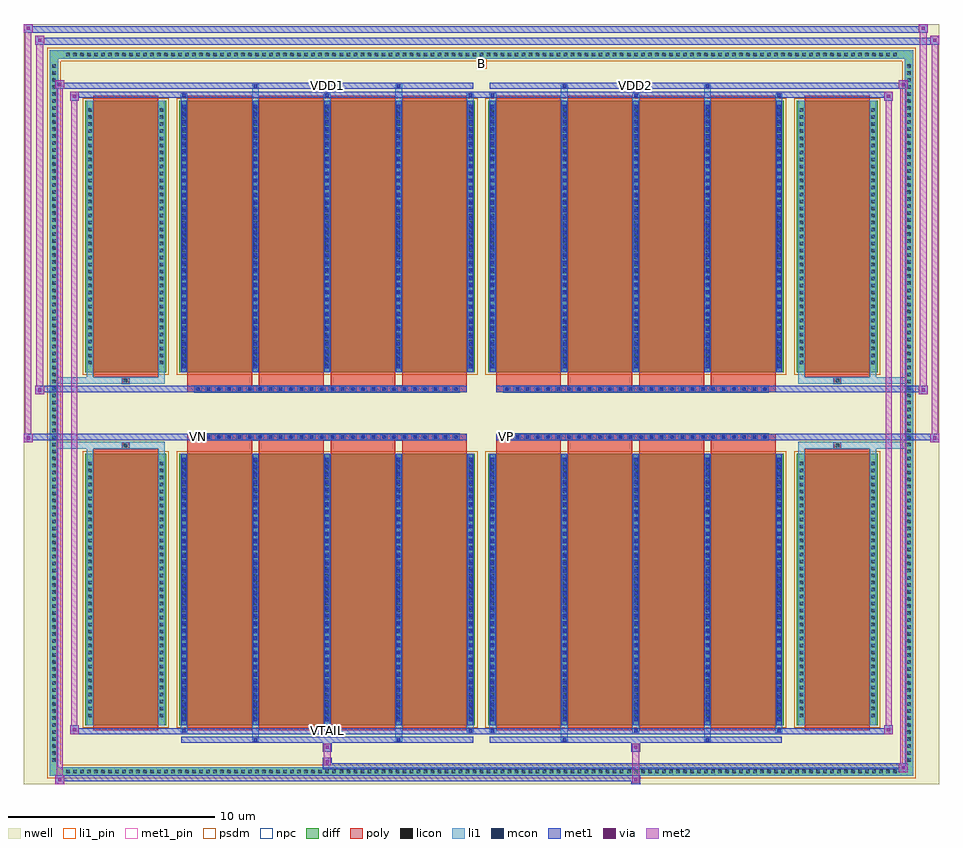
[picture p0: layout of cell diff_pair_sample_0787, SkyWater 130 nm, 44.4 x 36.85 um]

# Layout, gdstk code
import gdstk
lib = gdstk.Library(unit=1e-6, precision=5e-09)
def R(c, l, rs):  # rectangles x0, y0, x1, y1
    for r in rs: c.add(gdstk.rectangle(r[:2], r[2:], *l))
def A(c, l, x, y, w, h, nx, ny, dx, dy):  # array of equal rectangles
    R(c, l, [(x+i*dx, y+j*dy, x+i*dx+w, y+j*dy+h) for i in range(nx) for j in range(ny)])
def P(c, l, *ps):  # polygons
    for p in ps: c.add(gdstk.Polygon(p, *l))
nwell = (64, 20)
diff = (65, 20)
poly = (66, 20)
licon = (66, 44)
li1_pin = (67, 16)
li1 = (67, 20)
mcon = (67, 44)
met1_pin = (68, 16)
met1 = (68, 20)
via = (68, 44)
met2 = (69, 20)
psdm = (94, 20)
npc = (95, 20)

diff_pair_sample_0787 = lib.new_cell('diff_pair_sample_0787')
R(diff_pair_sample_0787, nwell, [(-22.2,-17.99,22.2,18.86), (-19.52,-16.18,-0.01,-0.8), (0.01,-16.18,19.52,-0.8), (-19.52,0.8,-0.01,16.18), (0.01,0.8,19.52,16.18)])
A(diff_pair_sample_0787, diff, -20.265, -17.59, 0.41, 0.41, 119, 2, 0.34, 34.77)
A(diff_pair_sample_0787, diff, -20.93, -17.035, 0.41, 0.41, 1, 100, 0, 0.34)
A(diff_pair_sample_0787, diff, 20.52, -17.035, 0.41, 0.41, 1, 100, 0, 0.34)
R(diff_pair_sample_0787, diff, [(-20.265,-17.59,20.265,-17.18), (-20.93,-17.035,-20.52,17.035), (20.52,-17.035,20.93,17.035), (-19.21,-15.135,-15.29,-1.985), (-14.65,-15.135,-0.32,-1.985), (0.32,-15.135,14.65,-1.985), (15.29,-15.135,19.21,-1.985), (-19.21,1.985,-15.29,15.135), (-14.65,1.985,-0.32,15.135), (0.32,1.985,14.65,15.135), (15.29,1.985,19.21,15.135), (-20.265,17.18,20.265,17.59)])
P(diff_pair_sample_0787, diff, [(20.93,17.59),(-20.93,17.59),(-20.93,-17.18),(-20.52,-17.18),(-20.52,17.18),(20.52,17.18),(20.52,-17.18),(-20.52,-17.18),(-20.93,-17.18),(-20.93,-17.59),(20.93,-17.59)])
A(diff_pair_sample_0787, poly, -14.26, -15.385, 3.14, 13.65, 4, 2, 3.47, 17.12)
A(diff_pair_sample_0787, poly, 0.71, -15.385, 3.14, 13.65, 4, 2, 3.47, 17.12)
A(diff_pair_sample_0787, poly, -14.26, -1.735, 3.14, 0.405, 4, 2, 3.47, 3.065)
A(diff_pair_sample_0787, poly, 0.71, -1.735, 3.14, 0.405, 4, 2, 3.47, 3.065)
A(diff_pair_sample_0787, poly, -13.9, -1.33, 0.33, 0.33, 26, 2, 0.5, 2.33)
A(diff_pair_sample_0787, poly, 1.07, -1.33, 0.33, 0.33, 26, 2, 0.5, 2.33)
R(diff_pair_sample_0787, poly, [(-18.82,-15.385,-15.68,-1.735), (15.68,-15.385,18.82,-1.735), (-17.415,-1.735,-17.085,-1.405), (-17.415,-1.735,-17.085,-1.405), (17.085,-1.735,17.415,-1.405), (17.085,-1.735,17.415,-1.405), (-14.26,-1.33,-0.71,-1), (0.71,-1.33,14.26,-1), (-14.26,1,-0.71,1.33), (0.71,1,14.26,1.33), (-17.415,1.405,-17.085,1.735), (-17.415,1.405,-17.085,1.735), (17.085,1.405,17.415,1.735), (17.085,1.405,17.415,1.735), (-18.82,1.735,-15.68,15.385), (15.68,1.735,18.82,15.385)])
A(diff_pair_sample_0787, licon, -20.145, -17.47, 0.17, 0.17, 119, 2, 0.34, 34.77)
A(diff_pair_sample_0787, licon, -20.81, -16.915, 0.17, 0.17, 1, 100, 0, 0.34)
A(diff_pair_sample_0787, licon, 20.64, -16.915, 0.17, 0.17, 1, 100, 0, 0.34)
A(diff_pair_sample_0787, licon, -19.07, -14.765, 0.17, 0.17, 1, 37, 0, 0.34)
A(diff_pair_sample_0787, licon, -15.6, -14.765, 0.17, 0.17, 1, 37, 0, 0.34)
A(diff_pair_sample_0787, licon, -14.51, -14.765, 0.17, 0.17, 5, 37, 3.47, 0.34)
A(diff_pair_sample_0787, licon, 0.46, -14.765, 0.17, 0.17, 5, 37, 3.47, 0.34)
A(diff_pair_sample_0787, licon, 15.43, -14.765, 0.17, 0.17, 1, 37, 0, 0.34)
A(diff_pair_sample_0787, licon, 18.9, -14.765, 0.17, 0.17, 1, 37, 0, 0.34)
A(diff_pair_sample_0787, licon, -13.82, -1.25, 0.17, 0.17, 26, 2, 0.5, 2.33)
A(diff_pair_sample_0787, licon, 1.15, -1.25, 0.17, 0.17, 26, 2, 0.5, 2.33)
A(diff_pair_sample_0787, licon, -19.07, 2.355, 0.17, 0.17, 1, 37, 0, 0.34)
A(diff_pair_sample_0787, licon, -15.6, 2.355, 0.17, 0.17, 1, 37, 0, 0.34)
A(diff_pair_sample_0787, licon, -14.51, 2.355, 0.17, 0.17, 5, 37, 3.47, 0.34)
A(diff_pair_sample_0787, licon, 0.46, 2.355, 0.17, 0.17, 5, 37, 3.47, 0.34)
A(diff_pair_sample_0787, licon, 15.43, 2.355, 0.17, 0.17, 1, 37, 0, 0.34)
A(diff_pair_sample_0787, licon, 18.9, 2.355, 0.17, 0.17, 1, 37, 0, 0.34)
R(diff_pair_sample_0787, licon, [(-17.335,-1.655,-17.165,-1.485), (17.165,-1.655,17.335,-1.485), (-17.335,1.485,-17.165,1.655), (17.165,1.485,17.335,1.655)])
R(diff_pair_sample_0787, li1_pin, [(-0.25,16.68,0.25,17.18)])
A(diff_pair_sample_0787, li1, -20.225, -17.55, 0.33, 0.33, 119, 2, 0.34, 34.77)
A(diff_pair_sample_0787, li1, -20.89, -16.995, 0.33, 0.33, 1, 100, 0, 0.34)
A(diff_pair_sample_0787, li1, 20.56, -16.995, 0.33, 0.33, 1, 100, 0, 0.34)
A(diff_pair_sample_0787, li1, -14.59, -15.51, 0.33, 0.375, 3, 2, 6.94, 30.645)
A(diff_pair_sample_0787, li1, -14.51, -15.51, 0.17, 0.17, 3, 2, 6.94, 30.85)
A(diff_pair_sample_0787, li1, 0.38, -15.51, 0.33, 0.375, 3, 2, 6.94, 30.645)
A(diff_pair_sample_0787, li1, 0.46, -15.51, 0.17, 0.17, 3, 2, 6.94, 30.85)
A(diff_pair_sample_0787, li1, -14.59, -15.135, 0.33, 13.15, 5, 2, 3.47, 17.12)
A(diff_pair_sample_0787, li1, 0.38, -15.135, 0.33, 13.15, 5, 2, 3.47, 17.12)
A(diff_pair_sample_0787, li1, -14.51, -14.945, 0.17, 0.17, 5, 36, 3.47, 0.36)
A(diff_pair_sample_0787, li1, -14.51, -14.945, 0.17, 12.77, 5, 2, 3.47, 17.12)
A(diff_pair_sample_0787, li1, 0.46, -14.945, 0.17, 0.17, 5, 36, 3.47, 0.36)
A(diff_pair_sample_0787, li1, 0.46, -14.945, 0.17, 12.77, 5, 2, 3.47, 17.12)
A(diff_pair_sample_0787, li1, -19.15, -14.845, 0.33, 0.33, 1, 37, 0, 0.34)
A(diff_pair_sample_0787, li1, -15.68, -14.845, 0.33, 0.33, 1, 37, 0, 0.34)
A(diff_pair_sample_0787, li1, -14.59, -14.845, 0.33, 0.33, 5, 37, 3.47, 0.34)
A(diff_pair_sample_0787, li1, 0.38, -14.845, 0.33, 0.33, 5, 37, 3.47, 0.34)
A(diff_pair_sample_0787, li1, 15.35, -14.845, 0.33, 0.33, 1, 37, 0, 0.34)
A(diff_pair_sample_0787, li1, 18.82, -14.845, 0.33, 0.33, 1, 37, 0, 0.34)
A(diff_pair_sample_0787, li1, -13.9, -1.33, 0.33, 0.33, 26, 2, 0.5, 2.33)
A(diff_pair_sample_0787, li1, 1.07, -1.33, 0.33, 0.33, 26, 2, 0.5, 2.33)
A(diff_pair_sample_0787, li1, -14.51, 2.175, 0.17, 0.17, 5, 36, 3.47, 0.36)
A(diff_pair_sample_0787, li1, 0.46, 2.175, 0.17, 0.17, 5, 36, 3.47, 0.36)
A(diff_pair_sample_0787, li1, -19.15, 2.275, 0.33, 0.33, 1, 37, 0, 0.34)
A(diff_pair_sample_0787, li1, -15.68, 2.275, 0.33, 0.33, 1, 37, 0, 0.34)
A(diff_pair_sample_0787, li1, -14.59, 2.275, 0.33, 0.33, 5, 37, 3.47, 0.34)
A(diff_pair_sample_0787, li1, 0.38, 2.275, 0.33, 0.33, 5, 37, 3.47, 0.34)
A(diff_pair_sample_0787, li1, 15.35, 2.275, 0.33, 0.33, 1, 37, 0, 0.34)
A(diff_pair_sample_0787, li1, 18.82, 2.275, 0.33, 0.33, 1, 37, 0, 0.34)
R(diff_pair_sample_0787, li1, [(-20.93,-17.59,-20.52,-17.18), (-20.93,-17.59,-20.52,-17.18), (-20.52,-17.59,20.52,-17.18), (20.52,-17.59,20.93,-17.18), (20.52,-17.59,20.93,-17.18), (-20.93,-17.18,-20.52,17.18), (20.52,-17.18,20.93,17.18), (-11.12,-15.94,-10.79,-15.135), (-11.04,-15.94,-10.87,-15.77), (-4.18,-15.94,-3.85,-15.135), (-4.1,-15.94,-3.93,-15.77), (3.85,-15.94,4.18,-15.135), (3.93,-15.94,4.1,-15.77), (10.79,-15.94,11.12,-15.135), (10.87,-15.94,11.04,-15.77), (-19.15,-15.135,-18.82,-1.985), (-15.68,-15.135,-15.35,-1.985), (15.35,-15.135,15.68,-1.985), (18.82,-15.135,19.15,-1.985), (-19.15,-1.985,-18.82,-1.405), (-15.68,-1.985,-15.35,-1.405), (15.35,-1.985,15.68,-1.405), (18.82,-1.985,19.15,-1.405), (-20.93,-1.735,-17.415,-1.405), (-19.15,-1.735,-17.415,-1.405), (-17.415,-1.735,-17.085,-1.405), (-17.085,-1.735,-15.35,-1.405), (15.35,-1.735,17.085,-1.405), (17.085,-1.735,17.415,-1.405), (17.085,-1.735,20.93,-1.405), (17.415,-1.735,19.15,-1.405), (-20.93,1.405,-17.415,1.735), (-19.15,1.405,-17.415,1.735), (-19.15,1.405,-18.82,1.985), (-17.415,1.405,-17.085,1.735), (-17.085,1.405,-15.35,1.735), (-15.68,1.405,-15.35,1.985), (15.35,1.405,17.085,1.735), (15.35,1.405,15.68,1.985), (17.085,1.405,17.415,1.735), (17.085,1.405,20.93,1.735), (17.415,1.405,19.15,1.735), (18.82,1.405,19.15,1.985), (-19.15,1.985,-18.82,15.135), (-15.68,1.985,-15.35,15.135), (15.35,1.985,15.68,15.135), (18.82,1.985,19.15,15.135), (-11.12,15.135,-10.79,15.94), (-4.18,15.135,-3.85,15.94), (3.85,15.135,4.18,15.94), (10.79,15.135,11.12,15.94), (-11.04,15.77,-10.87,15.94), (-4.1,15.77,-3.93,15.94), (3.93,15.77,4.1,15.94), (10.87,15.77,11.04,15.94), (-20.93,17.18,-20.52,17.59), (-20.93,17.18,-20.52,17.59), (-20.52,17.18,20.52,17.59), (20.52,17.18,20.93,17.59), (20.52,17.18,20.93,17.59)])
A(diff_pair_sample_0787, mcon, -14.51, -15.51, 0.17, 0.17, 3, 2, 6.94, 30.85)
A(diff_pair_sample_0787, mcon, 0.46, -15.51, 0.17, 0.17, 3, 2, 6.94, 30.85)
A(diff_pair_sample_0787, mcon, -14.51, -14.945, 0.17, 0.17, 5, 36, 3.47, 0.36)
A(diff_pair_sample_0787, mcon, 0.46, -14.945, 0.17, 0.17, 5, 36, 3.47, 0.36)
A(diff_pair_sample_0787, mcon, -13.82, -1.25, 0.17, 0.17, 26, 2, 0.5, 2.33)
A(diff_pair_sample_0787, mcon, 1.15, -1.25, 0.17, 0.17, 26, 2, 0.5, 2.33)
A(diff_pair_sample_0787, mcon, -14.51, 2.175, 0.17, 0.17, 5, 36, 3.47, 0.36)
A(diff_pair_sample_0787, mcon, 0.46, 2.175, 0.17, 0.17, 5, 36, 3.47, 0.36)
R(diff_pair_sample_0787, mcon, [(-11.04,-15.94,-10.87,-15.77), (-4.1,-15.94,-3.93,-15.77), (3.93,-15.94,4.1,-15.77), (10.87,-15.94,11.04,-15.77), (-11.04,15.77,-10.87,15.94), (-4.1,15.77,-3.93,15.94), (3.93,15.77,4.1,15.94), (10.87,15.77,11.04,15.94)])
R(diff_pair_sample_0787, met1_pin, [(-7.62,-15.55,-7.35,-15.28), (-13.87,-1.29,-13.6,-1.02), (1.1,-1.29,1.37,-1.02), (-7.62,15.73,-7.35,16), (7.35,15.73,7.62,16)])
A(diff_pair_sample_0787, met1, -14.57, -15.57, 0.29, 0.29, 3, 2, 6.94, 30.85)
A(diff_pair_sample_0787, met1, 0.4, -15.57, 0.29, 0.29, 3, 2, 6.94, 30.85)
A(diff_pair_sample_0787, met1, -14.57, -15.135, 0.29, 13.15, 5, 2, 3.47, 17.12)
A(diff_pair_sample_0787, met1, 0.4, -15.135, 0.29, 13.15, 5, 2, 3.47, 17.12)
A(diff_pair_sample_0787, met1, -14.57, -15.005, 0.29, 0.29, 5, 36, 3.47, 0.36)
A(diff_pair_sample_0787, met1, 0.4, -15.005, 0.29, 0.29, 5, 36, 3.47, 0.36)
A(diff_pair_sample_0787, met1, -13.88, -1.31, 0.29, 0.29, 26, 2, 0.5, 2.33)
A(diff_pair_sample_0787, met1, 1.09, -1.31, 0.29, 0.29, 26, 2, 0.5, 2.33)
A(diff_pair_sample_0787, met1, -14.57, 2.115, 0.29, 0.29, 5, 36, 3.47, 0.36)
A(diff_pair_sample_0787, met1, 0.4, 2.115, 0.29, 0.29, 5, 36, 3.47, 0.36)
R(diff_pair_sample_0787, met1, [(-20.66,-17.99,-20.23,-17.56), (7.27,-17.99,7.7,-17.56), (-20.66,-17.85,7.7,-17.56), (20.23,-17.42,20.66,-16.99), (-7.7,-17.28,20.66,-16.99), (-7.7,-17.14,-7.27,-16.71), (-7.7,-16.43,-7.27,-16), (7.27,-16.43,7.7,-16), (-14.57,-16,-0.4,-15.71), (-11.1,-16,-10.81,-15.71), (-4.16,-16,-3.87,-15.71), (0.4,-16,14.57,-15.71), (3.87,-16,4.16,-15.71), (10.81,-16,11.1,-15.71), (-19.95,-15.57,-19.52,-15.14), (-19.95,-15.57,-14.57,-15.28), (-14.57,-15.57,-0.4,-15.28), (-0.4,-15.57,0.4,-15.28), (0.4,-15.57,14.57,-15.28), (14.57,-15.57,19.95,-15.28), (19.52,-15.57,19.95,-15.14), (-22.2,-1.43,-21.77,-1), (21.77,-1.43,22.2,-1), (-22.2,-1.33,-0.71,-1), (-14.26,-1.33,-0.71,-1), (0.71,-1.33,14.26,-1), (0.71,-1.33,22.2,-1), (-21.63,0.9,-21.2,1.33), (21.2,0.9,21.63,1.33), (-21.63,1,-14.26,1.33), (-14.26,1,-0.71,1.33), (0.71,1,14.26,1.33), (14.26,1,21.63,1.33), (-19.95,15.14,-19.52,15.57), (19.52,15.14,19.95,15.57), (-19.95,15.28,-14.57,15.57), (-14.57,15.28,-0.4,15.57), (-0.4,15.28,0.4,15.57), (0.4,15.28,14.57,15.57), (14.57,15.28,19.95,15.57), (-20.66,15.71,-20.23,16.14), (-20.66,15.71,-14.57,16), (-14.57,15.71,-0.4,16), (-11.1,15.71,-10.81,16), (-4.16,15.71,-3.87,16), (0.4,15.71,14.57,16), (3.87,15.71,4.16,16), (10.81,15.71,11.1,16), (14.57,15.71,20.66,16), (20.23,15.71,20.66,16.14), (-21.63,17.86,-21.2,18.29), (-21.63,17.86,-19.52,18.19), (-19.52,17.86,19.52,18.19), (19.52,17.86,22.2,18.19), (21.77,17.86,22.2,18.29), (-22.2,18.43,-21.77,18.86), (-22.2,18.43,-19.52,18.76), (-19.52,18.43,19.52,18.76), (19.52,18.43,21.63,18.76), (21.2,18.43,21.63,18.86)])
R(diff_pair_sample_0787, via, [(-20.52,-17.85,-20.37,-17.7), (7.41,-17.85,7.56,-17.7), (20.37,-17.28,20.52,-17.13), (-7.56,-17,-7.41,-16.85), (-7.56,-16.29,-7.41,-16.14), (7.41,-16.29,7.56,-16.14), (-19.81,-15.43,-19.66,-15.28), (19.66,-15.43,19.81,-15.28), (-22.06,-1.29,-21.91,-1.14), (21.91,-1.29,22.06,-1.14), (-21.49,1.04,-21.34,1.19), (21.34,1.04,21.49,1.19), (-19.81,15.28,-19.66,15.43), (19.66,15.28,19.81,15.43), (-20.52,15.85,-20.37,16), (20.37,15.85,20.52,16), (-21.49,18,-21.34,18.15), (21.91,18,22.06,18.15), (-22.06,18.57,-21.91,18.72), (21.34,18.57,21.49,18.72)])
R(diff_pair_sample_0787, met2, [(-20.66,-17.99,-20.23,-17.56), (-20.59,-17.99,-20.3,16.14), (-20.3,-17.99,-20.23,-17.56), (-20.61,-17.94,-20.28,-17.61), (7.32,-17.94,7.65,-17.61), (7.32,-17.61,7.65,-16.38), (20.23,-17.42,20.66,-16.99), (20.3,-17.42,20.59,16.14), (20.59,-17.42,20.66,-16.99), (20.28,-17.37,20.61,-17.04), (-7.65,-17.09,-7.32,-16.76), (-7.65,-16.76,-7.32,-16.38), (-7.65,-16.38,-7.32,-16.05), (7.32,-16.38,7.65,-16.05), (-19.95,-15.57,-19.52,-15.14), (-19.88,-15.57,-19.59,15.57), (-19.59,-15.57,-19.52,-15.14), (19.52,-15.57,19.95,-15.14), (19.59,-15.57,19.88,15.57), (19.88,-15.57,19.95,-15.14), (-19.9,-15.52,-19.57,-15.19), (19.57,-15.52,19.9,-15.19), (-22.2,-1.43,-21.77,-1), (-22.15,-1.43,-21.82,18.86), (-21.82,-1.43,-21.77,-1), (21.77,-1.43,22.2,-1), (21.82,-1.43,22.15,18.29), (22.15,-1.43,22.2,-1), (-22.15,-1.38,-21.82,-1.05), (21.82,-1.38,22.15,-1.05), (-21.63,0.9,-21.2,1.33), (-21.58,0.9,-21.25,18.29), (-21.25,0.9,-21.2,1.33), (21.2,0.9,21.63,1.33), (21.25,0.9,21.58,18.86), (21.58,0.9,21.63,1.33), (-21.58,0.95,-21.25,1.28), (21.25,0.95,21.58,1.28), (-19.95,15.14,-19.52,15.57), (-19.59,15.14,-19.52,15.57), (19.52,15.14,19.95,15.57), (19.88,15.14,19.95,15.57), (-19.9,15.19,-19.57,15.52), (19.57,15.19,19.9,15.52), (-20.66,15.71,-20.23,16.14), (-20.3,15.71,-20.23,16.14), (20.23,15.71,20.66,16.14), (20.59,15.71,20.66,16.14), (-20.61,15.76,-20.28,16.09), (20.28,15.76,20.61,16.09), (-21.63,17.86,-21.2,18.29), (-21.25,17.86,-21.2,18.29), (21.77,17.86,22.2,18.29), (22.15,17.86,22.2,18.29), (-21.58,17.91,-21.25,18.24), (21.82,17.91,22.15,18.24), (-22.2,18.43,-21.77,18.86), (-21.82,18.43,-21.77,18.86), (21.2,18.43,21.63,18.86), (21.58,18.43,21.63,18.86), (-22.15,18.48,-21.82,18.81), (21.25,18.48,21.58,18.81)])
R(diff_pair_sample_0787, psdm, [(-19.34,-15.265,-15.16,-1.855), (-14.78,-15.265,-0.19,-1.855), (0.19,-15.265,14.78,-1.855), (15.16,-15.265,19.34,-1.855), (-19.34,1.855,-15.16,15.265), (-14.78,1.855,-0.19,15.265), (0.19,1.855,14.78,15.265), (15.16,1.855,19.34,15.265)])
P(diff_pair_sample_0787, psdm, [(21.06,17.72),(-21.06,17.72),(-21.06,-17.05),(-20.39,-17.05),(-20.39,17.05),(20.39,17.05),(20.39,-17.05),(-20.39,-17.05),(-21.06,-17.05),(-21.06,-17.72),(21.06,-17.72)])
A(diff_pair_sample_0787, npc, -13.92, -1.35, 0.37, 0.37, 26, 2, 0.5, 2.33)
A(diff_pair_sample_0787, npc, 1.05, -1.35, 0.37, 0.37, 26, 2, 0.5, 2.33)
R(diff_pair_sample_0787, npc, [(-17.435,-1.755,-17.065,-1.385), (17.065,-1.755,17.435,-1.385), (-13.92,-1.35,-13.05,-0.98), (-13.92,-1.35,-13.05,-0.98), (-13.42,-1.35,-12.55,-0.98), (-13.42,-1.35,-12.55,-0.98), (-12.92,-1.35,-12.05,-0.98), (-12.92,-1.35,-12.05,-0.98), (-12.42,-1.35,-11.55,-0.98), (-12.42,-1.35,-11.55,-0.98), (-11.92,-1.35,-11.05,-0.98), (-11.92,-1.35,-11.05,-0.98), (-11.42,-1.35,-10.55,-0.98), (-11.42,-1.35,-10.55,-0.98), (-10.92,-1.35,-10.05,-0.98), (-10.92,-1.35,-10.05,-0.98), (-10.42,-1.35,-9.55,-0.98), (-10.42,-1.35,-9.55,-0.98), (-9.92,-1.35,-9.05,-0.98), (-9.92,-1.35,-9.05,-0.98), (-9.42,-1.35,-8.55,-0.98), (-9.42,-1.35,-8.55,-0.98), (-8.92,-1.35,-8.05,-0.98), (-8.92,-1.35,-8.05,-0.98), (-8.42,-1.35,-7.55,-0.98), (-8.42,-1.35,-7.55,-0.98), (-7.92,-1.35,-7.05,-0.98), (-7.92,-1.35,-7.05,-0.98), (-7.42,-1.35,-6.55,-0.98), (-7.42,-1.35,-6.55,-0.98), (-6.92,-1.35,-6.05,-0.98), (-6.92,-1.35,-6.05,-0.98), (-6.42,-1.35,-5.55,-0.98), (-6.42,-1.35,-5.55,-0.98), (-5.92,-1.35,-5.05,-0.98), (-5.92,-1.35,-5.05,-0.98), (-5.42,-1.35,-4.55,-0.98), (-5.42,-1.35,-4.55,-0.98), (-4.92,-1.35,-4.05,-0.98), (-4.92,-1.35,-4.05,-0.98), (-4.42,-1.35,-3.55,-0.98), (-4.42,-1.35,-3.55,-0.98), (-3.92,-1.35,-3.05,-0.98), (-3.92,-1.35,-3.05,-0.98), (-3.42,-1.35,-2.55,-0.98), (-3.42,-1.35,-2.55,-0.98), (-2.92,-1.35,-2.05,-0.98), (-2.92,-1.35,-2.05,-0.98), (-2.42,-1.35,-1.55,-0.98), (-2.42,-1.35,-1.55,-0.98), (-1.92,-1.35,-1.05,-0.98), (-1.92,-1.35,-1.05,-0.98), (1.05,-1.35,1.92,-0.98), (1.05,-1.35,1.92,-0.98), (1.55,-1.35,2.42,-0.98), (1.55,-1.35,2.42,-0.98), (2.05,-1.35,2.92,-0.98), (2.05,-1.35,2.92,-0.98), (2.55,-1.35,3.42,-0.98), (2.55,-1.35,3.42,-0.98), (3.05,-1.35,3.92,-0.98), (3.05,-1.35,3.92,-0.98), (3.55,-1.35,4.42,-0.98), (3.55,-1.35,4.42,-0.98), (4.05,-1.35,4.92,-0.98), (4.05,-1.35,4.92,-0.98), (4.55,-1.35,5.42,-0.98), (4.55,-1.35,5.42,-0.98), (5.05,-1.35,5.92,-0.98), (5.05,-1.35,5.92,-0.98), (5.55,-1.35,6.42,-0.98), (5.55,-1.35,6.42,-0.98), (6.05,-1.35,6.92,-0.98), (6.05,-1.35,6.92,-0.98), (6.55,-1.35,7.42,-0.98), (6.55,-1.35,7.42,-0.98), (7.05,-1.35,7.92,-0.98), (7.05,-1.35,7.92,-0.98), (7.55,-1.35,8.42,-0.98), (7.55,-1.35,8.42,-0.98), (8.05,-1.35,8.92,-0.98), (8.05,-1.35,8.92,-0.98), (8.55,-1.35,9.42,-0.98), (8.55,-1.35,9.42,-0.98), (9.05,-1.35,9.92,-0.98), (9.05,-1.35,9.92,-0.98), (9.55,-1.35,10.42,-0.98), (9.55,-1.35,10.42,-0.98), (10.05,-1.35,10.92,-0.98), (10.05,-1.35,10.92,-0.98), (10.55,-1.35,11.42,-0.98), (10.55,-1.35,11.42,-0.98), (11.05,-1.35,11.92,-0.98), (11.05,-1.35,11.92,-0.98), (11.55,-1.35,12.42,-0.98), (11.55,-1.35,12.42,-0.98), (12.05,-1.35,12.92,-0.98), (12.05,-1.35,12.92,-0.98), (12.55,-1.35,13.42,-0.98), (12.55,-1.35,13.42,-0.98), (13.05,-1.35,13.92,-0.98), (13.05,-1.35,13.92,-0.98), (-13.92,0.98,-13.05,1.35), (-13.92,0.98,-13.05,1.35), (-13.42,0.98,-12.55,1.35), (-13.42,0.98,-12.55,1.35), (-12.92,0.98,-12.05,1.35), (-12.92,0.98,-12.05,1.35), (-12.42,0.98,-11.55,1.35), (-12.42,0.98,-11.55,1.35), (-11.92,0.98,-11.05,1.35), (-11.92,0.98,-11.05,1.35), (-11.42,0.98,-10.55,1.35), (-11.42,0.98,-10.55,1.35), (-10.92,0.98,-10.05,1.35), (-10.92,0.98,-10.05,1.35), (-10.42,0.98,-9.55,1.35), (-10.42,0.98,-9.55,1.35), (-9.92,0.98,-9.05,1.35), (-9.92,0.98,-9.05,1.35), (-9.42,0.98,-8.55,1.35), (-9.42,0.98,-8.55,1.35), (-8.92,0.98,-8.05,1.35), (-8.92,0.98,-8.05,1.35), (-8.42,0.98,-7.55,1.35), (-8.42,0.98,-7.55,1.35), (-7.92,0.98,-7.05,1.35), (-7.92,0.98,-7.05,1.35), (-7.42,0.98,-6.55,1.35), (-7.42,0.98,-6.55,1.35), (-6.92,0.98,-6.05,1.35), (-6.92,0.98,-6.05,1.35), (-6.42,0.98,-5.55,1.35), (-6.42,0.98,-5.55,1.35), (-5.92,0.98,-5.05,1.35), (-5.92,0.98,-5.05,1.35), (-5.42,0.98,-4.55,1.35), (-5.42,0.98,-4.55,1.35), (-4.92,0.98,-4.05,1.35), (-4.92,0.98,-4.05,1.35), (-4.42,0.98,-3.55,1.35), (-4.42,0.98,-3.55,1.35), (-3.92,0.98,-3.05,1.35), (-3.92,0.98,-3.05,1.35), (-3.42,0.98,-2.55,1.35), (-3.42,0.98,-2.55,1.35), (-2.92,0.98,-2.05,1.35), (-2.92,0.98,-2.05,1.35), (-2.42,0.98,-1.55,1.35), (-2.42,0.98,-1.55,1.35), (-1.92,0.98,-1.05,1.35), (-1.92,0.98,-1.05,1.35), (1.05,0.98,1.92,1.35), (1.05,0.98,1.92,1.35), (1.55,0.98,2.42,1.35), (1.55,0.98,2.42,1.35), (2.05,0.98,2.92,1.35), (2.05,0.98,2.92,1.35), (2.55,0.98,3.42,1.35), (2.55,0.98,3.42,1.35), (3.05,0.98,3.92,1.35), (3.05,0.98,3.92,1.35), (3.55,0.98,4.42,1.35), (3.55,0.98,4.42,1.35), (4.05,0.98,4.92,1.35), (4.05,0.98,4.92,1.35), (4.55,0.98,5.42,1.35), (4.55,0.98,5.42,1.35), (5.05,0.98,5.92,1.35), (5.05,0.98,5.92,1.35), (5.55,0.98,6.42,1.35), (5.55,0.98,6.42,1.35), (6.05,0.98,6.92,1.35), (6.05,0.98,6.92,1.35), (6.55,0.98,7.42,1.35), (6.55,0.98,7.42,1.35), (7.05,0.98,7.92,1.35), (7.05,0.98,7.92,1.35), (7.55,0.98,8.42,1.35), (7.55,0.98,8.42,1.35), (8.05,0.98,8.92,1.35), (8.05,0.98,8.92,1.35), (8.55,0.98,9.42,1.35), (8.55,0.98,9.42,1.35), (9.05,0.98,9.92,1.35), (9.05,0.98,9.92,1.35), (9.55,0.98,10.42,1.35), (9.55,0.98,10.42,1.35), (10.05,0.98,10.92,1.35), (10.05,0.98,10.92,1.35), (10.55,0.98,11.42,1.35), (10.55,0.98,11.42,1.35), (11.05,0.98,11.92,1.35), (11.05,0.98,11.92,1.35), (11.55,0.98,12.42,1.35), (11.55,0.98,12.42,1.35), (12.05,0.98,12.92,1.35), (12.05,0.98,12.92,1.35), (12.55,0.98,13.42,1.35), (12.55,0.98,13.42,1.35), (13.05,0.98,13.92,1.35), (13.05,0.98,13.92,1.35), (-17.435,1.385,-17.065,1.755), (17.065,1.385,17.435,1.755)])
diff_pair_sample_0787.add(gdstk.Label('VTAIL', (-7.485,-15.415), layer=68, texttype=5))
diff_pair_sample_0787.add(gdstk.Label('VN', (-13.735,-1.155), layer=68, texttype=5))
diff_pair_sample_0787.add(gdstk.Label('VP', (1.235,-1.155), layer=68, texttype=5))
diff_pair_sample_0787.add(gdstk.Label('B', (0,16.93), layer=67, texttype=5))
diff_pair_sample_0787.add(gdstk.Label('VDD2', (7.485,15.865), layer=68, texttype=5))
diff_pair_sample_0787.add(gdstk.Label('VDD1', (-7.485,15.865), layer=68, texttype=5))

lib.write_gds('diff_pair_sample_0787.gds')
